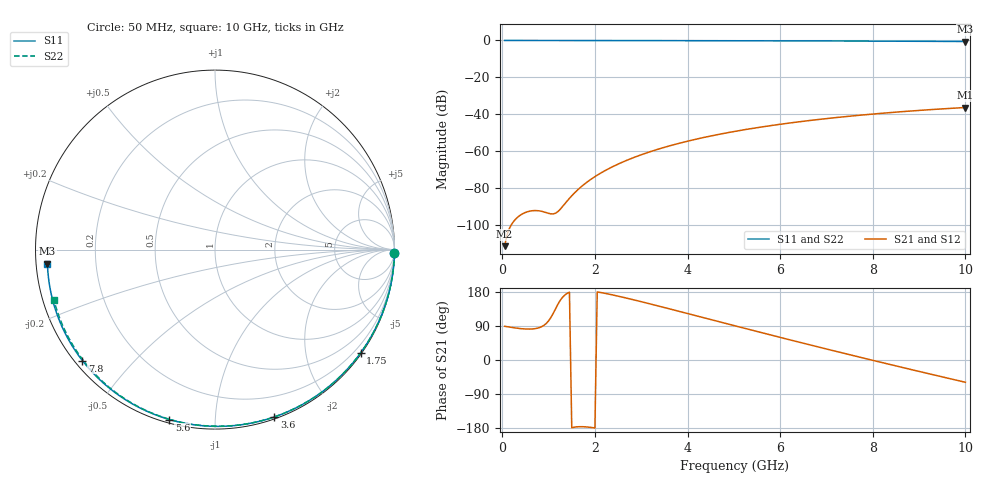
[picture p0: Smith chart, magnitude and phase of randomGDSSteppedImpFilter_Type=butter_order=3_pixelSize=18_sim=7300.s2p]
! freq	dB(S11)	phase(S11)	dB(S12)	phase(S12)
!  dB(S21)	phase(S21)	dB(S22)	phase(S22)
!S-par simulation data
#  GHz  S  DB  R 50
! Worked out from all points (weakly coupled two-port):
!   200 points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, 50 MHz to 10 GHz, reference 50 ohm
!   highest |S21| = -36.31 dB at 10 GHz (marker M1); lowest = -111.4 dB at 50 MHz (marker M2)
!   lowest |S11| = -0.6 dB at 10 GHz (marker M3), VSWR 30.73, Z = 1.63 - j2.09 ohm
!   |S11| at or under -10 dB: nowhere
!   |S22| runs from -0.5 to 0.0 dB; largest |S21 - S12| = 0
!   S11 on the Smith chart (normalised r, x): 50 MHz: open; 1.75 GHz: 0.03, -3.13; 3.6 GHz: 0.02, -1.42; 5.6 GHz: 0.02, -0.77; 7.8 GHz: 0.02, -0.36; 10 GHz: 0.03, -0.04
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0.05  -0.00 -1.0  -111.37 89.0  -111.37 89.0  -0.00 -1.0
0.4  -0.01 -8.2  -94.40 82.8  -94.40 82.8  -0.01 -7.6
0.8  -0.02 -16.4  -92.27 85.4  -92.27 85.4  -0.02 -15.2
1.2  -0.03 -24.5  -92.68 147.0  -92.68 147.0  -0.03 -22.6
1.65  -0.04 -33.4  -80.38 -176.1  -80.38 -176.1  -0.04 -30.9
1.75  -0.05 -35.4  -78.24 -176.1  -78.24 -176.1  -0.04 -32.8
1.9  -0.05 -38.3  -75.41 -177.7  -75.41 -177.7  -0.05 -35.5
2.05  -0.05 -41.3  -72.93 179.7  -72.93 179.7  -0.05 -38.2
2.25  -0.06 -45.2  -70.05 175.1  -70.05 175.1  -0.05 -41.8
2.45  -0.06 -49.0  -67.53 169.9  -67.53 169.9  -0.06 -45.4
2.9  -0.07 -57.5  -62.79 156.9  -62.79 156.9  -0.07 -53.4
3.4  -0.09 -66.8  -58.60 141.6  -58.60 141.6  -0.08 -62.0
3.6  -0.09 -70.5  -57.14 135.3  -57.14 135.3  -0.09 -65.4
4.3  -0.12 -82.9  -52.80 113.1  -52.80 113.1  -0.11 -77.1
5.05  -0.15 -95.8  -49.10 89.4  -49.10 89.4  -0.14 -89.2
5.6  -0.17 -105.0  -46.83 72.1  -46.83 72.1  -0.16 -97.8
6.15  -0.20 -114.0  -44.87 55.0  -44.87 55.0  -0.19 -106.2
6.7  -0.24 -122.8  -43.15 38.2  -43.15 38.2  -0.22 -114.4
7.8  -0.32 -140.1  -40.29 5.0  -40.29 5.0  -0.30 -130.5
8.35  -0.38 -148.7  -39.10 -11.2  -39.10 -11.2  -0.35 -138.5
9.2  -0.47 -162.2  -37.52 -35.9  -37.52 -35.9  -0.44 -150.8
10  -0.57 -175.2  -36.31 -58.8  -36.31 -58.8  -0.54 -162.5
